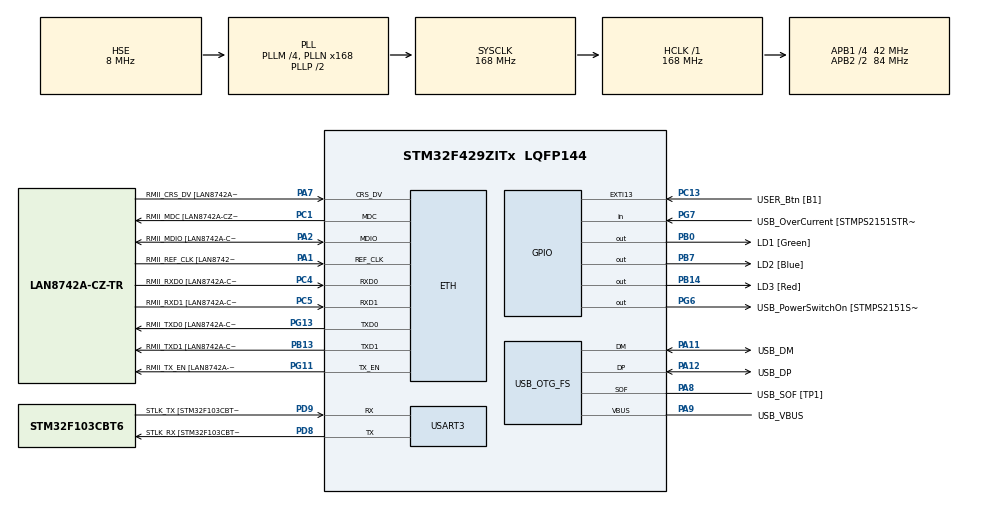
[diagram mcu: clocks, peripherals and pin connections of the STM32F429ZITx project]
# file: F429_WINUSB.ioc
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ETH.MediaInterface=HAL_ETH_RMII_MODE
ETH.PHY_Name=LAN8742A_PHY_ADDRESS
ETH.PHY_Value=0
ETH.PhyAddress=0
Mcu.Family=STM32F4
Mcu.Name=STM32F429ZITx
Mcu.Package=LQFP144
NVIC.OTG_FS_IRQn=true\:0\:0\:false\:false\:true\:false\:true\:true
NVIC.PriorityGroup=NVIC_PRIORITYGROUP_4
PA1.GPIO_Label=RMII_REF_CLK [LAN8742A-CZ-TR_REFCLK0]
PA1.Mode=RMII
PA1.Signal=ETH_REF_CLK
PA10.GPIO_Label=USB_ID
PA10.Signal=USB_OTG_FS_ID
PA11.GPIO_Label=USB_DM
PA11.Mode=Device_Only
PA11.Signal=USB_OTG_FS_DM
PA12.GPIO_Label=USB_DP
PA12.Mode=Device_Only
PA12.Signal=USB_OTG_FS_DP
PA13.GPIO_Label=TMS
PA13.Mode=Serial_Wire
PA13.Signal=SYS_JTMS-SWDIO
PA14.GPIO_Label=TCK
PA14.Mode=Serial_Wire
PA14.Signal=SYS_JTCK-SWCLK
PA2.GPIO_Label=RMII_MDIO [LAN8742A-CZ-TR_MDIO]
PA2.Mode=RMII
PA2.Signal=ETH_MDIO
PA7.GPIO_Label=RMII_CRS_DV [LAN8742A-CZ-TR_CRS_DV]
PA7.Mode=RMII
PA7.Signal=ETH_CRS_DV
PA8.GPIO_Label=USB_SOF [TP1]
PA8.Mode=Activate_SOF_FS
PA8.Signal=USB_OTG_FS_SOF
PA9.GPIO_Label=USB_VBUS
PA9.Mode=Activate_VBUS
PA9.Signal=USB_OTG_FS_VBUS
PB0.GPIO_Label=LD1 [Green]
PB0.Signal=GPIO_Output
PB13.GPIO_Label=RMII_TXD1 [LAN8742A-CZ-TR_TXD1]
PB13.Mode=RMII
PB13.Signal=ETH_TXD1
PB14.GPIO_Label=LD3 [Red]
PB14.Signal=GPIO_Output
PB7.GPIO_Label=LD2 [Blue]
PB7.Signal=GPIO_Output
PC1.GPIO_Label=RMII_MDC [LAN8742A-CZ-TR_MDC]
PC1.Mode=RMII
PC1.Signal=ETH_MDC
PC13.GPIO_Label=USER_Btn [B1]
PC13.Signal=GPXTI13
PC14/OSC32_IN.Mode=LSE-External-Oscillator
PC14/OSC32_IN.Signal=RCC_OSC32_IN
PC15/OSC32_OUT.Mode=LSE-External-Oscillator
PC15/OSC32_OUT.Signal=RCC_OSC32_OUT
PC4.GPIO_Label=RMII_RXD0 [LAN8742A-CZ-TR_RXD0]
PC4.Mode=RMII
PC4.Signal=ETH_RXD0
PC5.GPIO_Label=RMII_RXD1 [LAN8742A-CZ-TR_RXD1]
PC5.Mode=RMII
PC5.Signal=ETH_RXD1
PD8.GPIO_Label=STLK_RX [STM32F103CBT6_PA3]
PD8.Mode=Asynchronous
PD8.Signal=USART3_TX
PD9.GPIO_Label=STLK_TX [STM32F103CBT6_PA2]
PD9.Mode=Asynchronous
PD9.Signal=USART3_RX
PG11.GPIO_Label=RMII_TX_EN [LAN8742A-CZ-TR_TXEN]
PG11.Mode=RMII
PG11.Signal=ETH_TX_EN
PG13.GPIO_Label=RMII_TXD0 [LAN8742A-CZ-TR_TXD0]
PG13.Mode=RMII
PG13.Signal=ETH_TXD0
PG6.GPIO_Label=USB_PowerSwitchOn [STMPS2151STR_EN]
PG6.Signal=GPIO_Output
PG7.GPIO_Label=USB_OverCurrent [STMPS2151STR_FAULT]
PG7.Signal=GPIO_Input
PH0/OSC_IN.GPIO_Label=MCO [STM32F103CBT6_PA8]
PH0/OSC_IN.Mode=HSE-External-Clock-Source
PH0/OSC_IN.Signal=RCC_OSC_IN
PH1/OSC_OUT.Mode=HSE-External-Clock-Source
PH1/OSC_OUT.Signal=RCC_OSC_OUT
ProjectManager.HeapSize=0x1000
ProjectManager.StackSize=0x1000
ProjectManager.TargetToolchain=STM32CubeIDE
RCC.48MHZClocksFreq_Value=48000000
RCC.AHBFreq_Value=168000000
RCC.APB1CLKDivider=RCC_HCLK_DIV4
RCC.APB1Freq_Value=42000000
RCC.APB1TimFreq_Value=84000000
RCC.APB2CLKDivider=RCC_HCLK_DIV2
RCC.APB2Freq_Value=84000000
RCC.APB2TimCLKDivider=2
RCC.APB2TimFreq_Value=168000000
RCC.CortexFreq_Value=168000000
RCC.HCLKFreq_Value=168000000
RCC.HSE_VALUE=8000000
RCC.HSI_VALUE=16000000
RCC.PLLM=4
RCC.PLLMUL=RCC_PLL_MUL9
RCC.PLLN=168
RCC.PLLQ=7
RCC.PRESCALERUSB=RCC_USBCLKSOURCE_PLL_DIV1_5
RCC.SYSCLKFreq_VALUE=168000000
RCC.SYSCLKSource=RCC_SYSCLKSOURCE_PLLCLK
RCC.SYSCLKSourceVirtual=RCC_SYSCLKSOURCE_PLLCLK
RCC.USBFreq_Value=48000000
RCC.VCOOutputFreq_Value=336000000
USART3.VirtualMode=VM_ASYNC
USB_DEVICE.CLASS_NAME_FS=CDC
USB_DEVICE.CONFIGURATION_STRING_CDC_FS=WINUSB Config
USB_DEVICE.INTERFACE_STRING_CDC_FS=WINUSB Interface
USB_DEVICE.PID_CDC_FS=0x5741
USB_DEVICE.PRODUCT_STRING_CDC_FS=STM32F4 WINUSB
USB_DEVICE.VID-CDC_FS=0x483
USB_DEVICE.VirtualMode-CDC_FS=Cdc
USB_DEVICE.VirtualModeFS=Cdc_FS
USB_OTG_FS.VirtualMode=Device_Only
VP_USB_DEVICE_VS_USB_DEVICE_CDC_FS.Mode=CDC_FS
board=NUCLEO-F429ZI

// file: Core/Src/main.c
/* USER CODE BEGIN Header */
/**
  ******************************************************************************
  * @file           : main.c
  * @brief          : Main program body
  ******************************************************************************
  * @attention
  *
  * Copyright (c) 2022 STMicroelectronics.
  * All rights reserved.
  *
  * This software is licensed under terms that can be found in the LICENSE file
  * in the root directory of this software component.
  * If no LICENSE file comes with this software, it is provided AS-IS.
  *
  ******************************************************************************
  */
/* USER CODE END Header */
#include "main.h"
#include "string.h"
#include "usb_device.h"

/* USER CODE BEGIN Includes */
#include "usbd_conf.h"
#include "usbd_cdc_if.h"
/* USER CODE END Includes */

ETH_TxPacketConfig TxConfig;
ETH_DMADescTypeDef  DMARxDscrTab[ETH_RX_DESC_CNT]; /* Ethernet Rx DMA Descriptors */
ETH_DMADescTypeDef  DMATxDscrTab[ETH_TX_DESC_CNT]; /* Ethernet Tx DMA Descriptors */

ETH_HandleTypeDef heth;

UART_HandleTypeDef huart3;

/* USER CODE BEGIN PV */
uint8_t RxData[128], TxData[128];
volatile uint32_t data_received, data_sent;
volatile int8_t data_out_flag = 0;

#if USBLOG_ENABLED
uint8_t usbLogIndex = 0;
uint8_t usbLog[50][200] = { 0 };
#endif

/* USER CODE END PV */

void SystemClock_Config(void);
static void MX_GPIO_Init(void);
static void MX_ETH_Init(void);
static void MX_USART3_UART_Init(void);

int main(void)
{

  /* MCU Configuration--------------------------------------------------------*/

  /* Reset of all peripherals, Initializes the Flash interface and the Systick. */
  HAL_Init();

  /* Configure the system clock */
  SystemClock_Config();

  /* Initialize all configured peripherals */
  MX_GPIO_Init();
  MX_ETH_Init();
  MX_USART3_UART_Init();
  MX_USB_DEVICE_Init();

  /* Infinite loop */
  while (1)
  {

    /* USER CODE BEGIN 3 */

    if ( data_out_flag ) {
       extern int8_t CDC_is_busy(void);
       HAL_GPIO_TogglePin( LD3_GPIO_Port, LD3_Pin);
       if ( CDC_is_busy()) continue;
       data_out_flag = 0;
       data_sent = data_received;
       memmove( TxData, RxData, data_received );
       data_received = 0;
       CDC_Transmit_FS( TxData, data_sent );
    }

  }
  /* USER CODE END 3 */
}

void SystemClock_Config(void)
{
  RCC_OscInitTypeDef RCC_OscInitStruct = {0};
  RCC_ClkInitTypeDef RCC_ClkInitStruct = {0};

  /** Configure the main internal regulator output voltage
  */
  __HAL_RCC_PWR_CLK_ENABLE();
  __HAL_PWR_VOLTAGESCALING_CONFIG(PWR_REGULATOR_VOLTAGE_SCALE1);

  /** Initializes the RCC Oscillators according to the specified parameters
  * in the RCC_OscInitTypeDef structure.
  */
  RCC_OscInitStruct.OscillatorType = RCC_OSCILLATORTYPE_HSE;
  RCC_OscInitStruct.HSEState = RCC_HSE_BYPASS;
  RCC_OscInitStruct.PLL.PLLState = RCC_PLL_ON;
  RCC_OscInitStruct.PLL.PLLSource = RCC_PLLSOURCE_HSE;
  RCC_OscInitStruct.PLL.PLLM = 4;
  RCC_OscInitStruct.PLL.PLLN = 168;
  RCC_OscInitStruct.PLL.PLLP = RCC_PLLP_DIV2;
  RCC_OscInitStruct.PLL.PLLQ = 7;
  if (HAL_RCC_OscConfig(&RCC_OscInitStruct) != HAL_OK)
  {
    Error_Handler();
  }

  /** Initializes the CPU, AHB and APB buses clocks
  */
  RCC_ClkInitStruct.ClockType = RCC_CLOCKTYPE_HCLK|RCC_CLOCKTYPE_SYSCLK
                              |RCC_CLOCKTYPE_PCLK1|RCC_CLOCKTYPE_PCLK2;
  RCC_ClkInitStruct.SYSCLKSource = RCC_SYSCLKSOURCE_PLLCLK;
  RCC_ClkInitStruct.AHBCLKDivider = RCC_SYSCLK_DIV1;
  RCC_ClkInitStruct.APB1CLKDivider = RCC_HCLK_DIV4;
  RCC_ClkInitStruct.APB2CLKDivider = RCC_HCLK_DIV2;

  if (HAL_RCC_ClockConfig(&RCC_ClkInitStruct, FLASH_LATENCY_5) != HAL_OK)
  {
    Error_Handler();
  }
}

static void MX_ETH_Init(void)
{

   static uint8_t MACAddr[6];

  heth.Instance = ETH;
  MACAddr[0] = 0x00;
  MACAddr[1] = 0x80;
  MACAddr[2] = 0xE1;
  MACAddr[3] = 0x00;
  MACAddr[4] = 0x00;
  MACAddr[5] = 0x00;
  heth.Init.MACAddr = &MACAddr[0];
  heth.Init.MediaInterface = HAL_ETH_RMII_MODE;
  heth.Init.TxDesc = DMATxDscrTab;
  heth.Init.RxDesc = DMARxDscrTab;
  heth.Init.RxBuffLen = 1524;

  if (HAL_ETH_Init(&heth) != HAL_OK)
  {
    Error_Handler();
  }

  memset(&TxConfig, 0 , sizeof(ETH_TxPacketConfig));
  TxConfig.Attributes = ETH_TX_PACKETS_FEATURES_CSUM | ETH_TX_PACKETS_FEATURES_CRCPAD;
  TxConfig.ChecksumCtrl = ETH_CHECKSUM_IPHDR_PAYLOAD_INSERT_PHDR_CALC;
  TxConfig.CRCPadCtrl = ETH_CRC_PAD_INSERT;

}

static void MX_USART3_UART_Init(void)
{

  huart3.Instance = USART3;
  huart3.Init.BaudRate = 115200;
  huart3.Init.WordLength = UART_WORDLENGTH_8B;
  huart3.Init.StopBits = UART_STOPBITS_1;
  huart3.Init.Parity = UART_PARITY_NONE;
  huart3.Init.Mode = UART_MODE_TX_RX;
  huart3.Init.HwFlowCtl = UART_HWCONTROL_NONE;
  huart3.Init.OverSampling = UART_OVERSAMPLING_16;
  if (HAL_UART_Init(&huart3) != HAL_OK)
  {
    Error_Handler();
  }

}

static void MX_GPIO_Init(void)
{
  GPIO_InitTypeDef GPIO_InitStruct = {0};

  /* GPIO Ports Clock Enable */
  __HAL_RCC_GPIOE_CLK_ENABLE();
  __HAL_RCC_GPIOC_CLK_ENABLE();
  __HAL_RCC_GPIOF_CLK_ENABLE();
  __HAL_RCC_GPIOH_CLK_ENABLE();
  __HAL_RCC_GPIOA_CLK_ENABLE();
  __HAL_RCC_GPIOB_CLK_ENABLE();
  __HAL_RCC_GPIOG_CLK_ENABLE();
  __HAL_RCC_GPIOD_CLK_ENABLE();

  /*Configure GPIO pin Output Level */
  HAL_GPIO_WritePin(GPIOB, LD1_Pin|LD3_Pin|LD2_Pin, GPIO_PIN_RESET);

  /*Configure GPIO pin Output Level */
  HAL_GPIO_WritePin(USB_PowerSwitchOn_GPIO_Port, USB_PowerSwitchOn_Pin, GPIO_PIN_RESET);

  /*Configure GPIO pins : PE2 PE3 PE4 PE5
                           PE6 PE7 PE8 PE9
                           PE10 PE11 PE12 PE13
                           PE14 PE15 PE0 PE1 */
  GPIO_InitStruct.Pin = GPIO_PIN_2|GPIO_PIN_3|GPIO_PIN_4|GPIO_PIN_5
                          |GPIO_PIN_6|GPIO_PIN_7|GPIO_PIN_8|GPIO_PIN_9
                          |GPIO_PIN_10|GPIO_PIN_11|GPIO_PIN_12|GPIO_PIN_13
                          |GPIO_PIN_14|GPIO_PIN_15|GPIO_PIN_0|GPIO_PIN_1;
  GPIO_InitStruct.Mode = GPIO_MODE_ANALOG;
  GPIO_InitStruct.Pull = GPIO_NOPULL;
  HAL_GPIO_Init(GPIOE, &GPIO_InitStruct);

  /*Configure GPIO pin : USER_Btn_Pin */
  GPIO_InitStruct.Pin = USER_Btn_Pin;
  GPIO_InitStruct.Mode = GPIO_MODE_IT_RISING;
  GPIO_InitStruct.Pull = GPIO_NOPULL;
  HAL_GPIO_Init(USER_Btn_GPIO_Port, &GPIO_InitStruct);

  /*Configure GPIO pins : PF0 PF1 PF2 PF3
                           PF4 PF5 PF6 PF7
                           PF8 PF9 PF10 PF11
                           PF12 PF13 PF14 PF15 */
  GPIO_InitStruct.Pin = GPIO_PIN_0|GPIO_PIN_1|GPIO_PIN_2|GPIO_PIN_3
                          |GPIO_PIN_4|GPIO_PIN_5|GPIO_PIN_6|GPIO_PIN_7
                          |GPIO_PIN_8|GPIO_PIN_9|GPIO_PIN_10|GPIO_PIN_11
                          |GPIO_PIN_12|GPIO_PIN_13|GPIO_PIN_14|GPIO_PIN_15;
  GPIO_InitStruct.Mode = GPIO_MODE_ANALOG;
  GPIO_InitStruct.Pull = GPIO_NOPULL;
  HAL_GPIO_Init(GPIOF, &GPIO_InitStruct);

  /*Configure GPIO pins : PC0 PC2 PC3 PC6
                           PC7 PC8 PC9 PC10
                           PC11 PC12 */
  GPIO_InitStruct.Pin = GPIO_PIN_0|GPIO_PIN_2|GPIO_PIN_3|GPIO_PIN_6
                          |GPIO_PIN_7|GPIO_PIN_8|GPIO_PIN_9|GPIO_PIN_10
                          |GPIO_PIN_11|GPIO_PIN_12;
  GPIO_InitStruct.Mode = GPIO_MODE_ANALOG;
  GPIO_InitStruct.Pull = GPIO_NOPULL;
  HAL_GPIO_Init(GPIOC, &GPIO_InitStruct);

  /*Configure GPIO pins : PA0 PA3 PA4 PA5
                           PA6 PA15 */
  GPIO_InitStruct.Pin = GPIO_PIN_0|GPIO_PIN_3|GPIO_PIN_4|GPIO_PIN_5
                          |GPIO_PIN_6|GPIO_PIN_15;
  GPIO_InitStruct.Mode = GPIO_MODE_ANALOG;
  GPIO_InitStruct.Pull = GPIO_NOPULL;
  HAL_GPIO_Init(GPIOA, &GPIO_InitStruct);

  /*Configure GPIO pins : LD1_Pin LD3_Pin LD2_Pin */
  GPIO_InitStruct.Pin = LD1_Pin|LD3_Pin|LD2_Pin;
  GPIO_InitStruct.Mode = GPIO_MODE_OUTPUT_PP;
  GPIO_InitStruct.Pull = GPIO_NOPULL;
  GPIO_InitStruct.Speed = GPIO_SPEED_FREQ_LOW;
  HAL_GPIO_Init(GPIOB, &GPIO_InitStruct);

  /*Configure GPIO pins : PB1 PB2 PB10 PB11
                           PB12 PB15 PB3 PB4
                           PB5 PB6 PB8 PB9 */
  GPIO_InitStruct.Pin = GPIO_PIN_1|GPIO_PIN_2|GPIO_PIN_10|GPIO_PIN_11
                          |GPIO_PIN_12|GPIO_PIN_15|GPIO_PIN_3|GPIO_PIN_4
                          |GPIO_PIN_5|GPIO_PIN_6|GPIO_PIN_8|GPIO_PIN_9;
  GPIO_InitStruct.Mode = GPIO_MODE_ANALOG;
  GPIO_InitStruct.Pull = GPIO_NOPULL;
  HAL_GPIO_Init(GPIOB, &GPIO_InitStruct);

  /*Configure GPIO pins : PG0 PG1 PG2 PG3
                           PG4 PG5 PG8 PG9
                           PG10 PG12 PG14 PG15 */
  GPIO_InitStruct.Pin = GPIO_PIN_0|GPIO_PIN_1|GPIO_PIN_2|GPIO_PIN_3
                          |GPIO_PIN_4|GPIO_PIN_5|GPIO_PIN_8|GPIO_PIN_9
                          |GPIO_PIN_10|GPIO_PIN_12|GPIO_PIN_14|GPIO_PIN_15;
  GPIO_InitStruct.Mode = GPIO_MODE_ANALOG;
  GPIO_InitStruct.Pull = GPIO_NOPULL;
  HAL_GPIO_Init(GPIOG, &GPIO_InitStruct);

  /*Configure GPIO pins : PD10 PD11 PD12 PD13
                           PD14 PD15 PD0 PD1
                           PD2 PD3 PD4 PD5
                           PD6 PD7 */
  GPIO_InitStruct.Pin = GPIO_PIN_10|GPIO_PIN_11|GPIO_PIN_12|GPIO_PIN_13
                          |GPIO_PIN_14|GPIO_PIN_15|GPIO_PIN_0|GPIO_PIN_1
                          |GPIO_PIN_2|GPIO_PIN_3|GPIO_PIN_4|GPIO_PIN_5
                          |GPIO_PIN_6|GPIO_PIN_7;
  GPIO_InitStruct.Mode = GPIO_MODE_ANALOG;
  GPIO_InitStruct.Pull = GPIO_NOPULL;
  HAL_GPIO_Init(GPIOD, &GPIO_InitStruct);

  /*Configure GPIO pin : USB_PowerSwitchOn_Pin */
  GPIO_InitStruct.Pin = USB_PowerSwitchOn_Pin;
  GPIO_InitStruct.Mode = GPIO_MODE_OUTPUT_PP;
  GPIO_InitStruct.Pull = GPIO_NOPULL;
  GPIO_InitStruct.Speed = GPIO_SPEED_FREQ_LOW;
  HAL_GPIO_Init(USB_PowerSwitchOn_GPIO_Port, &GPIO_InitStruct);

  /*Configure GPIO pin : USB_OverCurrent_Pin */
  GPIO_InitStruct.Pin = USB_OverCurrent_Pin;
  GPIO_InitStruct.Mode = GPIO_MODE_INPUT;
  GPIO_InitStruct.Pull = GPIO_NOPULL;
  HAL_GPIO_Init(USB_OverCurrent_GPIO_Port, &GPIO_InitStruct);

}

void Error_Handler(void)
{
  __disable_irq();
  while (1)
  {
  }
}
